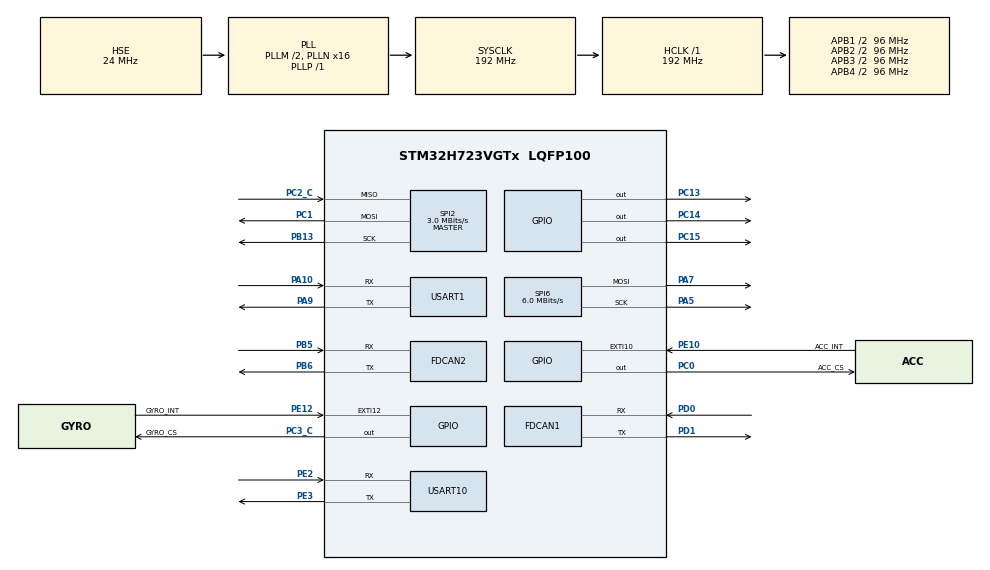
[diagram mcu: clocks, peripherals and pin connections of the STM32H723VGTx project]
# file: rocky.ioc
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Dma.Request0=SPI2_RX
Dma.Request1=SPI2_TX
Dma.SPI2_RX.0.Direction=DMA_PERIPH_TO_MEMORY
Dma.SPI2_RX.0.EventEnable=DISABLE
Dma.SPI2_RX.0.FIFOMode=DMA_FIFOMODE_DISABLE
Dma.SPI2_RX.0.Instance=DMA1_Stream0
Dma.SPI2_RX.0.MemDataAlignment=DMA_MDATAALIGN_BYTE
Dma.SPI2_RX.0.MemInc=DMA_MINC_ENABLE
Dma.SPI2_RX.0.Mode=DMA_NORMAL
Dma.SPI2_RX.0.PeriphDataAlignment=DMA_PDATAALIGN_BYTE
Dma.SPI2_RX.0.PeriphInc=DMA_PINC_DISABLE
Dma.SPI2_RX.0.Polarity=HAL_DMAMUX_REQ_GEN_RISING
Dma.SPI2_RX.0.Priority=DMA_PRIORITY_VERY_HIGH
Dma.SPI2_RX.0.RequestNumber=1
Dma.SPI2_RX.0.SignalID=NONE
Dma.SPI2_RX.0.SyncEnable=DISABLE
Dma.SPI2_RX.0.SyncPolarity=HAL_DMAMUX_SYNC_NO_EVENT
Dma.SPI2_RX.0.SyncRequestNumber=1
Dma.SPI2_RX.0.SyncSignalID=NONE
Dma.SPI2_TX.1.Direction=DMA_MEMORY_TO_PERIPH
Dma.SPI2_TX.1.EventEnable=DISABLE
Dma.SPI2_TX.1.FIFOMode=DMA_FIFOMODE_DISABLE
Dma.SPI2_TX.1.Instance=DMA1_Stream1
Dma.SPI2_TX.1.MemDataAlignment=DMA_MDATAALIGN_BYTE
Dma.SPI2_TX.1.MemInc=DMA_MINC_ENABLE
Dma.SPI2_TX.1.Mode=DMA_NORMAL
Dma.SPI2_TX.1.PeriphDataAlignment=DMA_PDATAALIGN_BYTE
Dma.SPI2_TX.1.PeriphInc=DMA_PINC_DISABLE
Dma.SPI2_TX.1.Polarity=HAL_DMAMUX_REQ_GEN_RISING
Dma.SPI2_TX.1.Priority=DMA_PRIORITY_HIGH
Dma.SPI2_TX.1.RequestNumber=1
Dma.SPI2_TX.1.SignalID=NONE
Dma.SPI2_TX.1.SyncEnable=DISABLE
Dma.SPI2_TX.1.SyncPolarity=HAL_DMAMUX_SYNC_NO_EVENT
Dma.SPI2_TX.1.SyncRequestNumber=1
Dma.SPI2_TX.1.SyncSignalID=NONE
FDCAN1.AutoRetransmission=DISABLE
FDCAN1.CalculateBaudRateNominal=1000000
FDCAN1.CalculateTimeBitNominal=1000
FDCAN1.CalculateTimeQuantumNominal=62.5
FDCAN1.DataPrescaler=6
FDCAN1.DataSyncJumpWidth=2
FDCAN1.DataTimeSeg1=13
FDCAN1.DataTimeSeg2=2
FDCAN1.ExtFiltersNbr=4
FDCAN1.Mode=FDCAN_MODE_NORMAL
FDCAN1.NominalPrescaler=6
FDCAN1.NominalSyncJumpWidth=2
FDCAN1.NominalTimeSeg1=13
FDCAN1.NominalTimeSeg2=2
FDCAN1.ProtocolException=ENABLE
FDCAN1.RxBuffersNbr=2
FDCAN1.RxFifo0ElmtsNbr=8
FDCAN1.RxFifo1ElmtsNbr=8
FDCAN1.StdFiltersNbr=4
FDCAN1.TxBuffersNbr=8
FDCAN1.TxEventsNbr=8
FDCAN1.TxFifoQueueElmtsNbr=8
FDCAN2.AutoRetransmission=ENABLE
FDCAN2.CalculateBaudRateNominal=1200000
FDCAN2.CalculateTimeBitNominal=833
FDCAN2.CalculateTimeQuantumNominal=10.416666666666666
FDCAN2.DataSyncJumpWidth=2
FDCAN2.DataTimeSeg1=13
FDCAN2.DataTimeSeg2=2
FDCAN2.ExtFiltersNbr=4
FDCAN2.NominalPrescaler=1
FDCAN2.NominalSyncJumpWidth=20
FDCAN2.NominalTimeSeg1=59
FDCAN2.NominalTimeSeg2=20
FDCAN2.ProtocolException=ENABLE
FDCAN2.RxBuffersNbr=2
FDCAN2.RxFifo0ElmtsNbr=8
FDCAN2.RxFifo1ElmtsNbr=8
FDCAN2.StdFiltersNbr=4
FDCAN2.TxBuffersNbr=8
FDCAN2.TxEventsNbr=8
FDCAN2.TxFifoQueueElmtsNbr=8
Mcu.Family=STM32H7
Mcu.Name=STM32H723VGTx
Mcu.Package=LQFP100
NVIC.DMA1_Stream0_IRQn=true\:1\:0\:true\:false\:true\:false\:true\:true
NVIC.DMA1_Stream1_IRQn=true\:2\:0\:true\:false\:true\:false\:true\:true
NVIC.FDCAN1_IT0_IRQn=true\:0\:0\:false\:false\:true\:true\:true\:true
NVIC.FDCAN1_IT1_IRQn=true\:0\:0\:false\:false\:true\:true\:true\:true
NVIC.PriorityGroup=NVIC_PRIORITYGROUP_4
NVIC.SPI2_IRQn=true\:5\:0\:true\:false\:true\:false\:true\:true
NVIC.TIM2_IRQn=true\:0\:0\:false\:false\:true\:true\:true\:true
NVIC.USART10_IRQn=true\:0\:0\:false\:false\:true\:true\:true\:true
PA10.Mode=Asynchronous
PA10.Signal=USART1_RX
PA13(JTMS/SWDIO).Mode=Serial_Wire
PA13(JTMS/SWDIO).Signal=DEBUG_JTMS-SWDIO
PA14(JTCK/SWCLK).Mode=Serial_Wire
PA14(JTCK/SWCLK).Signal=DEBUG_JTCK-SWCLK
PA5.GPIO_Speed=GPIO_SPEED_FREQ_VERY_HIGH
PA5.Mode=TX_Only_Simplex_Unidirect_Master
PA5.Signal=SPI6_SCK
PA7.GPIO_Speed=GPIO_SPEED_FREQ_VERY_HIGH
PA7.Mode=TX_Only_Simplex_Unidirect_Master
PA7.Signal=SPI6_MOSI
PA9.Mode=Asynchronous
PA9.Signal=USART1_TX
PB13.GPIO_Speed=GPIO_SPEED_FREQ_VERY_HIGH
PB13.Mode=Full_Duplex_Master
PB13.Signal=SPI2_SCK
PB5.Mode=FDCAN_Activate
PB5.Signal=FDCAN2_RX
PB6.Mode=FDCAN_Activate
PB6.Signal=FDCAN2_TX
PC0.GPIO_Label=ACC_CS
PC0.GPIO_Speed=GPIO_SPEED_FREQ_VERY_HIGH
PC0.PinState=GPIO_PIN_SET
PC0.Signal=GPIO_Output
PC1.GPIO_Speed=GPIO_SPEED_FREQ_VERY_HIGH
PC1.Mode=Full_Duplex_Master
PC1.Signal=SPI2_MOSI
PC13.Signal=GPIO_Output
PC14-OSC32_IN.Signal=GPIO_Output
PC15-OSC32_OUT.Signal=GPIO_Output
PC2_C.GPIO_Speed=GPIO_SPEED_FREQ_VERY_HIGH
PC2_C.Mode=Full_Duplex_Master
PC2_C.Signal=SPI2_MISO
PC3_C.GPIO_Label=GYRO_CS
PC3_C.GPIO_Speed=GPIO_SPEED_FREQ_VERY_HIGH
PC3_C.PinState=GPIO_PIN_SET
PC3_C.Signal=GPIO_Output
PD0.Mode=FDCAN_Activate
PD0.Signal=FDCAN1_RX
PD1.Mode=FDCAN_Activate
PD1.Signal=FDCAN1_TX
PE10.GPIO_Label=ACC_INT
PE10.Signal=GPXTI10
PE12.GPIO_Label=GYRO_INT
PE12.Signal=GPXTI12
PE2.Mode=Asynchronous
PE2.Signal=USART10_RX
PE3.Mode=Asynchronous
PE3.Signal=USART10_TX
PH0-OSC_IN.Mode=HSE-External-Oscillator
PH0-OSC_IN.Signal=RCC_OSC_IN
PH1-OSC_OUT.Mode=HSE-External-Oscillator
PH1-OSC_OUT.Signal=RCC_OSC_OUT
ProjectManager.HeapSize=0x200
ProjectManager.StackSize=0x800
ProjectManager.TargetToolchain=STM32CubeIDE
RCC.ADCFreq_Value=48375000
RCC.APB1Freq_Value=96000000
RCC.APB2Freq_Value=96000000
RCC.APB3Freq_Value=96000000
RCC.APB4Freq_Value=96000000
RCC.CortexFreq_Value=192000000
RCC.D1PPRE=RCC_APB3_DIV2
RCC.D2PPRE1=RCC_APB1_DIV2
RCC.D2PPRE2=RCC_APB2_DIV2
RCC.D3PPRE=RCC_APB4_DIV2
RCC.DIVM1=2
RCC.DIVN1=16
RCC.DIVP1=1
RCC.HCLKFreq_Value=192000000
RCC.HSE_VALUE=24000000
RCC.PLL2FRACN=0
RCC.PLL3FRACN=0
RCC.PLLFRACN=0
RCC.PLLSourceVirtual=RCC_PLLSOURCE_HSE
RCC.SPI6CLockSelection=RCC_SPI6CLKSOURCE_HSE
RCC.SYSCLKFreq_VALUE=192000000
RCC.SYSCLKSource=RCC_SYSCLKSOURCE_PLLCLK
RCC.USBFreq_Value=96000000
SPI2.BaudRatePrescaler=SPI_BAUDRATEPRESCALER_32
SPI2.CLKPhase=SPI_PHASE_2EDGE
SPI2.CLKPolarity=SPI_POLARITY_HIGH
SPI2.CalculateBaudRate=3.0 MBits/s
SPI2.DataSize=SPI_DATASIZE_8BIT
SPI2.Direction=SPI_DIRECTION_2LINES
SPI2.Mode=SPI_MODE_MASTER
SPI2.VirtualType=VM_MASTER
SPI6.BaudRatePrescaler=SPI_BAUDRATEPRESCALER_4
SPI6.CLKPhase=SPI_PHASE_2EDGE
SPI6.CalculateBaudRate=6.0 MBits/s
SPI6.DataSize=SPI_DATASIZE_8BIT
SPI6.Direction=SPI_DIRECTION_2LINES_TXONLY
SPI6.Mode=SPI_MODE_MASTER
SPI6.VirtualType=VM_MASTER
TIM2.Period=999
TIM2.Prescaler=239
USART1.VirtualMode-Asynchronous=VM_ASYNC
USART10.VirtualMode=VM_ASYNC
VP_MEMORYMAP_VS_MEMORYMAP.Mode=CurAppReg
VP_TIM2_VS_ClockSourceINT.Mode=Internal
board=custom

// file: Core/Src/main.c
/* USER CODE BEGIN Header */
/* USER CODE END Header */
#include "main.h"
#include "dma.h"
#include "fdcan.h"
#include "spi.h"
#include "tim.h"
#include "usart.h"
#include "gpio.h"

/* USER CODE BEGIN PD */
#include "ws2812.h"
#include "bsp_fdcan.h"
#include "BMI088Middleware.h"
#include <stdio.h>
#include <string.h>
#include <stdarg.h>
#include <math.h>
/* USER CODE END PD */

/* USER CODE BEGIN PM */
typedef struct {
    uint8_t node_id;
    float   cmd_deg;
} MotorAxis;

MotorAxis motor_left_wheel   = {1, 0};
MotorAxis motor_right_wheel  = {2, 0};
MotorAxis motor_neck         = {3, 0};  // IMU\u6302\u5728\u8116\u5b50\u4e0a

/* USER CODE END PM */

/* USER CODE BEGIN PV */
// 1kHz flag
volatile uint8_t loop_1khz_flag = 0;

// attitude
static float pitch_deg = 0.0f;  // \u55ac\u4eea\u89d2-\u7528\u4e8e\u5e73\u8861\u63a7\u5236

// target command (deg) - \u53ea\u63a7\u5236pitch\u7528\u4e8eLR\u8f6e\u5e73\u8861
static float cmd_pitch_deg = 0.0f;

// gains
static float K_pitch = 1.0f;  // \u5e73\u8861\u53cd\u9988\u589e\u76ca

// dt
static const float dt = 0.001f;
static const float RAD2DEG = 57.2957795f;
/* USER CODE END PV */

void SystemClock_Config(void);

/* USER CODE BEGIN 0 */

// ===== WS2812 LED status helpers =====
static inline void led_yellow(void){ WS2812_Ctrl(60, 60, 0); }
static inline void led_red(void)   { WS2812_Ctrl(80, 0, 0);  }
static inline void led_green(void) { WS2812_Ctrl(0, 80, 0);  }

// ===== UART1 logging =====
static char logbuf[160];

static void log_uart1(const char *s)
{
    HAL_UART_Transmit(&huart1, (uint8_t*)s, (uint16_t)strlen(s), 100);
}

static void logf_uart1(const char *fmt, ...)
{
    va_list ap;
    va_start(ap, fmt);

    // 注意：vsnprintf 返回“本应写入的长度”，可能 >= sizeof(logbuf)
    int n = vsnprintf(logbuf, sizeof(logbuf), fmt, ap);

    va_end(ap);

    if (n < 0) return;

    // 实际可发送长度 = buffer 内真实字符串长度（避免发到旧内容）
    size_t len = strnlen(logbuf, sizeof(logbuf));

    HAL_UART_Transmit(&huart1, (uint8_t*)logbuf, (uint16_t)len, 100);
}

// ===== Gimbal enable: PC14 =====
#define GIMBAL_EN_PORT GPIOC
#define GIMBAL_EN_PIN  GPIO_PIN_14

static inline void gimbal_enable(uint8_t en)
{
    HAL_GPIO_WritePin(GIMBAL_EN_PORT, GIMBAL_EN_PIN, en ? GPIO_PIN_SET : GPIO_PIN_RESET);
}

// ===== Nodes =====
#define NODE_LEFT_WHEEL  1  // 左轮 - 平衡控制
#define NODE_RIGHT_WHEEL 2  // 右轮 - 平衡控制
#define NODE_NECK        3  // 脖子 - 固定零位（IMU挂在脖子上）

// ===== JC SDO write helpers =====
static inline uint16_t jc_tx_id(uint8_t node_id){ return (uint16_t)(0x600 + node_id); }

static inline void be_u16(uint8_t *p, uint16_t v){
    p[0] = (uint8_t)(v >> 8);
    p[1] = (uint8_t)(v & 0xFF);
}
static inline void be_i32(uint8_t *p, int32_t v){
    p[0] = (uint8_t)(v >> 24);
    p[1] = (uint8_t)(v >> 16);
    p[2] = (uint8_t)(v >> 8);
    p[3] = (uint8_t)(v & 0xFF);
}

static int jc_enter_closed_loop(FDCAN_HandleTypeDef *hcan, uint8_t node_id)
{
    // 2B 00 A2 00 00 01 00 00
    uint8_t d[8] = {0x2B, 0x00, 0xA2, 0x00, 0x00, 0x01, 0x00, 0x00};
    return fdcanx_send_data(hcan, jc_tx_id(node_id), d, 8);
}

// mode: 4 = 位置直通 (你确认过)
static int jc_set_mode(FDCAN_HandleTypeDef *hcan, uint8_t node_id, uint16_t mode)
{
    // 2B 00 60 00 00 mm 00 00
    uint8_t d[8] = {0x2B, 0x00, 0x60, 0x00, 0, 0, 0, 0};
    be_u16(&d[4], mode);
    return fdcanx_send_data(hcan, jc_tx_id(node_id), d, 8);
}

static int jc_set_abs_pos_deg(FDCAN_HandleTypeDef *hcan, uint8_t node_id, float deg)
{
    // 23 00 23 00 [int32_be] , deg*100
    int32_t v = (int32_t)(deg * 100.0f);
    uint8_t d[8] = {0x23, 0x00, 0x23, 0x00, 0, 0, 0, 0};
    be_i32(&d[4], v);
    return fdcanx_send_data(hcan, jc_tx_id(node_id), d, 8);
}

static void fatal(const char *msg)
{
    led_red();
    logf_uart1("[FATAL] %s\r\n", msg);
    gimbal_enable(0);
    __disable_irq();
    while (1) { HAL_Delay(1000); }
}

/* USER CODE END 0 */

int main(void)
{

  /* MCU Configuration--------------------------------------------------------*/

  /* Reset of all peripherals, Initializes the Flash interface and the Systick. */
  HAL_Init();

  /* Configure the system clock */
  SystemClock_Config();

  /* Initialize all configured peripherals */
  MX_GPIO_Init();
  MX_DMA_Init();
  MX_SPI2_Init();
  MX_USART1_UART_Init();
  MX_TIM2_Init();
  MX_FDCAN1_Init();
  MX_FDCAN2_Init();
  MX_USART10_UART_Init();
  MX_SPI6_Init();
  /* USER CODE BEGIN 2 */
  led_yellow();
  log_uart1("\r\n[BOOT] H725 gimbal IMU sync control\r\n");

  // power off first
  gimbal_enable(0);
  HAL_Delay(50);

  // CAN
  log_uart1("[INIT] CAN...\r\n");
  bsp_can_init();
  HAL_Delay(50);

  // IMU
  log_uart1("[INIT] IMU...\r\n");
  uint8_t imu_err = BMI088_init();
  if (imu_err) fatal("BMI088_init failed");

  // 1kHz timer
  HAL_TIM_Base_Start_IT(&htim2);

  // enable gimbal power
  log_uart1("[INIT] GIMBAL EN=1\r\n");
  gimbal_enable(1);
  HAL_Delay(500);

  // closed loop + mode=4 (position passthrough)
  log_uart1("[INIT] closed-loop + mode=4 nodes 1/2/3\r\n");
  if (jc_enter_closed_loop(&hfdcan1, NODE_LEFT_WHEEL)  != 0) fatal("closed_loop node1");
  if (jc_enter_closed_loop(&hfdcan1, NODE_RIGHT_WHEEL) != 0) fatal("closed_loop node2");
  if (jc_enter_closed_loop(&hfdcan1, NODE_NECK)        != 0) fatal("closed_loop node3");
  HAL_Delay(20);

  if (jc_set_mode(&hfdcan1, NODE_LEFT_WHEEL,  4) != 0) fatal("mode4 node1");
  if (jc_set_mode(&hfdcan1, NODE_RIGHT_WHEEL, 4) != 0) fatal("mode4 node2");
  if (jc_set_mode(&hfdcan1, NODE_NECK,        4) != 0) fatal("mode4 node3");
  HAL_Delay(20);

  // start at 0 deg - 脖子固定在零位
  jc_set_abs_pos_deg(&hfdcan1, NODE_NECK, 0.0f);
  HAL_Delay(20);
  log_uart1("[INIT] neck initialized to 0deg\r\n");

  led_green();
  log_uart1("[OK] running 1kHz IMU->CAN\r\n");

  /* USER CODE END 2 */

  /* Infinite loop */
  /* USER CODE BEGIN WHILE */
  uint32_t last_log_ms = HAL_GetTick();
  static float cmd_pitch_filt = 0.0f;
  static const float cmd_alpha = 0.05f; // 0.02~0.1 之间调，越小越稳越慢

  static const float max_speed_dps = 120.0f; // 最大输出速度 deg/s，先试 60~180

  float gyro[3], accel[3], temp = 0.0f;
  const float alpha = 0.98f;
  while (1)
  {
	  if (!loop_1khz_flag) continue;
	      loop_1khz_flag = 0;

	      // 1) read IMU
	      BMI088_read(gyro, accel, &temp);

	      // 假设 BMI088Middleware 输出 gyro单位=deg/s
	      float gx = gyro[0];
	      float gy = gyro[1];
	      float gz = gyro[2];

	      float ax = accel[0];
	      float ay = accel[1];
	      float az = accel[2];

	      // 2) accel angle
	      float pitch_acc = atan2f(-ay, sqrtf(ax*ax + az*az)) * RAD2DEG;

      pitch_deg = alpha * (pitch_deg + gx * dt) + (1.0f - alpha) * pitch_acc;

      // 4) command = balance control based on pitch (stabilize)

// 5) send to balance car (1kHz)
      // 左轮和右轮做平衡控制，脖子保持零位
      static uint8_t can_div = 0;
      can_div++;
      if (can_div >= 5) {   // 1kHz / 5 = 200Hz
          can_div = 0;
          cmd_pitch_filt += cmd_alpha * (cmd_pitch_deg - cmd_pitch_filt);

          // 左轮 = +cmd_pitch（前倾->前进）
          if (jc_set_abs_pos_deg(&hfdcan1, NODE_LEFT_WHEEL, cmd_pitch_filt) != 0)
              fatal("tx node1 (left_wheel)");

          // 右轮 = -cmd_pitch（前倾->前进，反向转）
          if (jc_set_abs_pos_deg(&hfdcan1, NODE_RIGHT_WHEEL, -cmd_pitch_filt) != 0)
              fatal("tx node2 (right_wheel)");
      }

      // 1Hz log
      uint32_t now = HAL_GetTick();
      if ((now - last_log_ms) >= 1000)
      {
         last_log_ms = now;
          int32_t pitch_x100 = (int32_t)(cmd_pitch_deg * 100.0f);
          int32_t gyro_x100 = (int32_t)(gyro[0] * 100.0f);  // gx = pitch gyro

          logf_uart1("pitch=%ld (x0.01) gyro_x=%ld (x0.01)\r\n", (long)pitch_x100, (long)gyro_x100);
	      }

    /* USER CODE END WHILE */

  }
}

void SystemClock_Config(void)
{
  RCC_OscInitTypeDef RCC_OscInitStruct = {0};
  RCC_ClkInitTypeDef RCC_ClkInitStruct = {0};

  /** Supply configuration update enable
  */
  HAL_PWREx_ConfigSupply(PWR_LDO_SUPPLY);

  /** Configure the main internal regulator output voltage
  */
  __HAL_PWR_VOLTAGESCALING_CONFIG(PWR_REGULATOR_VOLTAGE_SCALE1);

  while(!__HAL_PWR_GET_FLAG(PWR_FLAG_VOSRDY)) {}

  /** Initializes the RCC Oscillators according to the specified parameters
  * in the RCC_OscInitTypeDef structure.
  */
  RCC_OscInitStruct.OscillatorType = RCC_OSCILLATORTYPE_HSE;
  RCC_OscInitStruct.HSEState = RCC_HSE_ON;
  RCC_OscInitStruct.PLL.PLLState = RCC_PLL_ON;
  RCC_OscInitStruct.PLL.PLLSource = RCC_PLLSOURCE_HSE;
  RCC_OscInitStruct.PLL.PLLM = 2;
  RCC_OscInitStruct.PLL.PLLN = 16;
  RCC_OscInitStruct.PLL.PLLP = 1;
  RCC_OscInitStruct.PLL.PLLQ = 2;
  RCC_OscInitStruct.PLL.PLLR = 2;
  RCC_OscInitStruct.PLL.PLLRGE = RCC_PLL1VCIRANGE_3;
  RCC_OscInitStruct.PLL.PLLVCOSEL = RCC_PLL1VCOWIDE;
  RCC_OscInitStruct.PLL.PLLFRACN = 0;
  if (HAL_RCC_OscConfig(&RCC_OscInitStruct) != HAL_OK)
  {
    Error_Handler();
  }

  /** Initializes the CPU, AHB and APB buses clocks
  */
  RCC_ClkInitStruct.ClockType = RCC_CLOCKTYPE_HCLK|RCC_CLOCKTYPE_SYSCLK
                              |RCC_CLOCKTYPE_PCLK1|RCC_CLOCKTYPE_PCLK2
                              |RCC_CLOCKTYPE_D3PCLK1|RCC_CLOCKTYPE_D1PCLK1;
  RCC_ClkInitStruct.SYSCLKSource = RCC_SYSCLKSOURCE_PLLCLK;
  RCC_ClkInitStruct.SYSCLKDivider = RCC_SYSCLK_DIV1;
  RCC_ClkInitStruct.AHBCLKDivider = RCC_HCLK_DIV1;
  RCC_ClkInitStruct.APB3CLKDivider = RCC_APB3_DIV2;
  RCC_ClkInitStruct.APB1CLKDivider = RCC_APB1_DIV2;
  RCC_ClkInitStruct.APB2CLKDivider = RCC_APB2_DIV2;
  RCC_ClkInitStruct.APB4CLKDivider = RCC_APB4_DIV2;

  if (HAL_RCC_ClockConfig(&RCC_ClkInitStruct, FLASH_LATENCY_2) != HAL_OK)
  {
    Error_Handler();
  }
}

/* USER CODE BEGIN 4 */
void HAL_TIM_PeriodElapsedCallback(TIM_HandleTypeDef *htim)
{
    if (htim->Instance == TIM2)
    {
        loop_1khz_flag = 1;
    }
}

/* USER CODE END 4 */

void Error_Handler(void)
{
}
